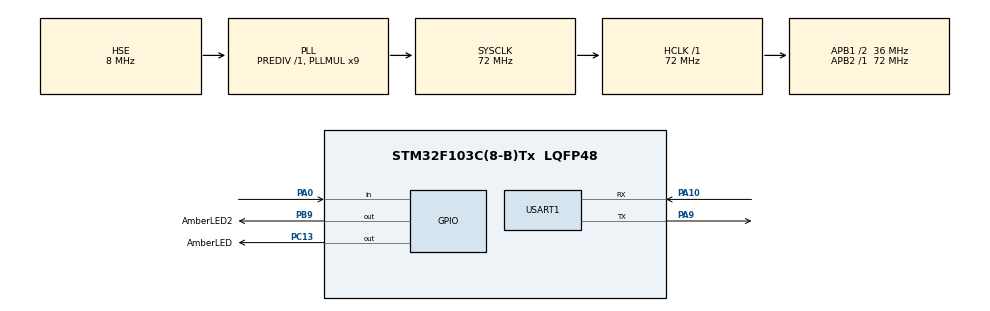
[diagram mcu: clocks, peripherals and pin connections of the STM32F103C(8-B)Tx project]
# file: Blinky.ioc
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Mcu.Family=STM32F1
Mcu.Name=STM32F103C(8-B)Tx
Mcu.Package=LQFP48
Mcu.UserConstants=TIMER1_COUNTER,10000
NVIC.PriorityGroup=NVIC_PRIORITYGROUP_4
NVIC.TIM1_UP_IRQn=true\:0\:0\:false\:false\:true
PA0-WKUP.GPIO_PuPd=GPIO_PULLUP
PA0-WKUP.Signal=GPIO_Input
PA10.Mode=Asynchronous
PA10.Signal=USART1_RX
PA13.Mode=Serial_Wire
PA13.Signal=SYS_JTMS-SWDIO
PA14.Mode=Serial_Wire
PA14.Signal=SYS_JTCK-SWCLK
PA9.Mode=Asynchronous
PA9.Signal=USART1_TX
PB9.GPIO_Label=AmberLED2
PB9.GPIO_ModeDefaultOutputPP=GPIO_MODE_OUTPUT_OD
PB9.PinState=GPIO_PIN_RESET
PB9.Signal=GPIO_Output
PC13-TAMPER-RTC.GPIO_Label=AmberLED
PC13-TAMPER-RTC.GPIO_ModeDefaultOutputPP=GPIO_MODE_OUTPUT_OD
PC13-TAMPER-RTC.PinState=GPIO_PIN_RESET
PC13-TAMPER-RTC.Signal=GPIO_Output
PD0-OSC_IN.Mode=HSE-External-Oscillator
PD0-OSC_IN.Signal=RCC_OSC_IN
PD1-OSC_OUT.Mode=HSE-External-Oscillator
PD1-OSC_OUT.Signal=RCC_OSC_OUT
ProjectManager.HeapSize=0x200
ProjectManager.StackSize=0x400
ProjectManager.TargetToolchain=SW4STM32
RCC.AHBFreq_Value=72000000
RCC.APB1CLKDivider=RCC_HCLK_DIV2
RCC.APB1Freq_Value=36000000
RCC.APB1TimFreq_Value=72000000
RCC.APB2Freq_Value=72000000
RCC.APB2TimFreq_Value=72000000
RCC.HCLKFreq_Value=72000000
RCC.PLLMUL=RCC_PLL_MUL9
RCC.PLLSourceVirtual=RCC_PLLSOURCE_HSE
RCC.SYSCLKFreq_VALUE=72000000
RCC.SYSCLKSource=RCC_SYSCLKSOURCE_PLLCLK
RCC.USBFreq_Value=72000000
TIM1.CounterMode=TIM_COUNTERMODE_UP
TIM1.Period=TIMER1_COUNTER
TIM1.TIM_MasterOutputTrigger=TIM_TRGO_UPDATE
USART1.VirtualMode=VM_ASYNC
VP_TIM1_VS_ClockSourceINT.Mode=Internal
board=Blinky

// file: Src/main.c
/**
  ******************************************************************************
  * File Name          : main.c
  * Description        : Main program body
  ******************************************************************************
  ** This notice applies to any and all portions of this file
  * that are not between comment pairs USER CODE BEGIN and
  * USER CODE END. Other portions of this file, whether
  * inserted by the user or by software development tools
  * are owned by their respective copyright owners.
  *
  * COPYRIGHT(c) 2017 STMicroelectronics
  *
  * Redistribution and use in source and binary forms, with or without modification,
  * are permitted provided that the following conditions are met:
  *   1. Redistributions of source code must retain the above copyright notice,
  *      this list of conditions and the following disclaimer.
  *   2. Redistributions in binary form must reproduce the above copyright notice,
  *      this list of conditions and the following disclaimer in the documentation
  *      and/or other materials provided with the distribution.
  *   3. Neither the name of STMicroelectronics nor the names of its contributors
  *      may be used to endorse or promote products derived from this software
  *      without specific prior written permission.
  *
  * THIS SOFTWARE IS PROVIDED BY THE COPYRIGHT HOLDERS AND CONTRIBUTORS "AS IS"
  * AND ANY EXPRESS OR IMPLIED WARRANTIES, INCLUDING, BUT NOT LIMITED TO, THE
  * IMPLIED WARRANTIES OF MERCHANTABILITY AND FITNESS FOR A PARTICULAR PURPOSE ARE
  * DISCLAIMED. IN NO EVENT SHALL THE COPYRIGHT HOLDER OR CONTRIBUTORS BE LIABLE
  * FOR ANY DIRECT, INDIRECT, INCIDENTAL, SPECIAL, EXEMPLARY, OR CONSEQUENTIAL
  * DAMAGES (INCLUDING, BUT NOT LIMITED TO, PROCUREMENT OF SUBSTITUTE GOODS OR
  * SERVICES; LOSS OF USE, DATA, OR PROFITS; OR BUSINESS INTERRUPTION) HOWEVER
  * CAUSED AND ON ANY THEORY OF LIABILITY, WHETHER IN CONTRACT, STRICT LIABILITY,
  * OR TORT (INCLUDING NEGLIGENCE OR OTHERWISE) ARISING IN ANY WAY OUT OF THE USE
  * OF THIS SOFTWARE, EVEN IF ADVISED OF THE POSSIBILITY OF SUCH DAMAGE.
  *
  ******************************************************************************
  */
#include "main.h"
#include "stm32f1xx_hal.h"
#include "task.h"

/* USER CODE BEGIN Includes */
#define hasTimerExpired(prevTime, period) \
	(HAL_GetTick() - prevTime > period)

/* USER CODE END Includes */

TIM_HandleTypeDef htim1;

UART_HandleTypeDef huart1;

/* USER CODE BEGIN PV */
/* Private variables ---------------------------------------------------------*/
int mySignal = 8;
TCB *curTCB;
/* USER CODE END PV */

void SystemClock_Config(void);
static void MX_GPIO_Init(void);
static void MX_USART1_UART_Init(void);
static void MX_TIM1_Init(void);

/* USER CODE BEGIN PFP */
/* Private function prototypes -----------------------------------------------*/
volatile int val=0;
volatile int val2=0;
volatile int val3=0;

void task1(void);
void task2(void);

/* USER CODE END PFP */

int main(void){
  /* USER CODE BEGIN 1 */
  TCB *tcb;
  /* USER CODE END 1 */
  /* MCU Configuration----------------------------------------------------------*/
  /* Reset of all peripherals, Initializes the Flash interface and the Systick. */
  HAL_Init();
  /* Configure the system clock */
  SystemClock_Config();
  /* Initialize all configured peripherals */
  MX_GPIO_Init();
  MX_USART1_UART_Init();
  MX_TIM1_Init();
  /* USER CODE BEGIN 2 */
  curTCB = initKernel("MainThread");
  tcb = createThread("Thread1",task1,256);
  curTCB->next = tcb;
  //curTCB->next->next = curTCB;
  tcb = createThread("Thread2",task2,512);
  curTCB->next->next = tcb;
  curTCB->next->next->next = curTCB;

  //assemblyMain();
  __HAL_TIM_ENABLE(&htim1);
  HAL_TIM_Base_Start_IT(&htim1);

  //val = add4Integers(2, 3, 4, 5);
  //val = add5Integers(2, 3, 4, 5, 6);
  //val = add6Integers(2, 3, 4, 5, 6, 7);
  //if(SCB->CCR & SCB_CCR_STKALIGN)
	 // val = val2;
  //HAL_TIM_Base_Start_IT(&htim1);

  /* USER CODE END 2 */

  /* Infinite loop */
  /* USER CODE BEGIN WHILE */
//  uint32_t prevTime1 = 0;
//  uint32_t prevTime2 = 0;
//  prevTime1 = HAL_GetTick();
//  prevTime2 = HAL_GetTick();

  while (1){
  /* USER CODE END WHILE */

  /* USER CODE BEGIN 3 */

//	uint32_t tick = 0;
	HAL_GPIO_TogglePin(AmberLED_GPIO_Port, AmberLED_Pin);
	HAL_Delay(1000);
//	tick = osKernelSysTick();
//	while(osKernelSysTick() - tick < 500);
  }
  /* USER CODE END 3 */

}

/** System Clock Configuration
*/
void SystemClock_Config(void){
  RCC_OscInitTypeDef RCC_OscInitStruct;
  RCC_ClkInitTypeDef RCC_ClkInitStruct;

    /**Initializes the CPU, AHB and APB busses clocks
    */
  RCC_OscInitStruct.OscillatorType = RCC_OSCILLATORTYPE_HSE;
  RCC_OscInitStruct.HSEState = RCC_HSE_ON;
  RCC_OscInitStruct.HSEPredivValue = RCC_HSE_PREDIV_DIV1;
  RCC_OscInitStruct.HSIState = RCC_HSI_ON;
  RCC_OscInitStruct.PLL.PLLState = RCC_PLL_ON;
  RCC_OscInitStruct.PLL.PLLSource = RCC_PLLSOURCE_HSE;
  RCC_OscInitStruct.PLL.PLLMUL = RCC_PLL_MUL9;
  if (HAL_RCC_OscConfig(&RCC_OscInitStruct) != HAL_OK)
  {
    _Error_Handler(__FILE__, __LINE__);
  }

    /**Initializes the CPU, AHB and APB busses clocks
    */
  RCC_ClkInitStruct.ClockType = RCC_CLOCKTYPE_HCLK|RCC_CLOCKTYPE_SYSCLK
                              |RCC_CLOCKTYPE_PCLK1|RCC_CLOCKTYPE_PCLK2;
  RCC_ClkInitStruct.SYSCLKSource = RCC_SYSCLKSOURCE_PLLCLK;
  RCC_ClkInitStruct.AHBCLKDivider = RCC_SYSCLK_DIV1;
  RCC_ClkInitStruct.APB1CLKDivider = RCC_HCLK_DIV2;
  RCC_ClkInitStruct.APB2CLKDivider = RCC_HCLK_DIV1;

  if (HAL_RCC_ClockConfig(&RCC_ClkInitStruct, FLASH_LATENCY_2) != HAL_OK)
  {
    _Error_Handler(__FILE__, __LINE__);
  }

    /**Configure the Systick interrupt time
    */
  HAL_SYSTICK_Config(HAL_RCC_GetHCLKFreq()/1000);

    /**Configure the Systick
    */
  HAL_SYSTICK_CLKSourceConfig(SYSTICK_CLKSOURCE_HCLK);

  /* SysTick_IRQn interrupt configuration */
  HAL_NVIC_SetPriority(SysTick_IRQn, 0, 0);
}

/* TIM1 init function */
static void MX_TIM1_Init(void)
{

  TIM_ClockConfigTypeDef sClockSourceConfig;
  TIM_MasterConfigTypeDef sMasterConfig;

  htim1.Instance = TIM1;
  htim1.Init.Prescaler = 0;
  htim1.Init.CounterMode = TIM_COUNTERMODE_UP;
  htim1.Init.Period = TIMER1_COUNTER;
  htim1.Init.ClockDivision = TIM_CLOCKDIVISION_DIV1;
  htim1.Init.RepetitionCounter = 0;
  if (HAL_TIM_Base_Init(&htim1) != HAL_OK)
  {
    _Error_Handler(__FILE__, __LINE__);
  }

  sClockSourceConfig.ClockSource = TIM_CLOCKSOURCE_INTERNAL;
  if (HAL_TIM_ConfigClockSource(&htim1, &sClockSourceConfig) != HAL_OK)
  {
    _Error_Handler(__FILE__, __LINE__);
  }

  sMasterConfig.MasterOutputTrigger = TIM_TRGO_UPDATE;
  sMasterConfig.MasterSlaveMode = TIM_MASTERSLAVEMODE_DISABLE;
  if (HAL_TIMEx_MasterConfigSynchronization(&htim1, &sMasterConfig) != HAL_OK)
  {
    _Error_Handler(__FILE__, __LINE__);
  }

}

/* USART1 init function */
static void MX_USART1_UART_Init(void)
{

  huart1.Instance = USART1;
  huart1.Init.BaudRate = 115200;
  huart1.Init.WordLength = UART_WORDLENGTH_8B;
  huart1.Init.StopBits = UART_STOPBITS_1;
  huart1.Init.Parity = UART_PARITY_NONE;
  huart1.Init.Mode = UART_MODE_TX_RX;
  huart1.Init.HwFlowCtl = UART_HWCONTROL_NONE;
  huart1.Init.OverSampling = UART_OVERSAMPLING_16;
  if (HAL_UART_Init(&huart1) != HAL_OK)
  {
    _Error_Handler(__FILE__, __LINE__);
  }

}

/** Configure pins as
        * Analog
        * Input
        * Output
        * EVENT_OUT
        * EXTI
*/
static void MX_GPIO_Init(void)
{

  GPIO_InitTypeDef GPIO_InitStruct;

  /* GPIO Ports Clock Enable */
  __HAL_RCC_GPIOC_CLK_ENABLE();
  __HAL_RCC_GPIOD_CLK_ENABLE();
  __HAL_RCC_GPIOA_CLK_ENABLE();
  __HAL_RCC_GPIOB_CLK_ENABLE();

  /*Configure GPIO pin Output Level */
  HAL_GPIO_WritePin(AmberLED_GPIO_Port, AmberLED_Pin, GPIO_PIN_RESET);

  /*Configure GPIO pin Output Level */
  HAL_GPIO_WritePin(AmberLED2_GPIO_Port, AmberLED2_Pin, GPIO_PIN_RESET);

  /*Configure GPIO pin : AmberLED_Pin */
  GPIO_InitStruct.Pin = AmberLED_Pin;
  GPIO_InitStruct.Mode = GPIO_MODE_OUTPUT_OD;
  GPIO_InitStruct.Speed = GPIO_SPEED_FREQ_LOW;
  HAL_GPIO_Init(AmberLED_GPIO_Port, &GPIO_InitStruct);

  /*Configure GPIO pin : PA0 */
  GPIO_InitStruct.Pin = GPIO_PIN_0;
  GPIO_InitStruct.Mode = GPIO_MODE_INPUT;
  GPIO_InitStruct.Pull = GPIO_PULLUP;
  HAL_GPIO_Init(GPIOA, &GPIO_InitStruct);

  /*Configure GPIO pin : AmberLED2_Pin */
  GPIO_InitStruct.Pin = AmberLED2_Pin;
  GPIO_InitStruct.Mode = GPIO_MODE_OUTPUT_OD;
  GPIO_InitStruct.Speed = GPIO_SPEED_FREQ_LOW;
  HAL_GPIO_Init(AmberLED2_GPIO_Port, &GPIO_InitStruct);

}

/* USER CODE BEGIN 4 */
int sub2Integers(int v1,int v2){
	return v1-v2;
}

int sub5Integers(int v1,int v2,int v3,int v4,int v5){
	return v1-v2-v3-v4-v5;
}

int sub6Integers(int v1,int v2,int v3,int v4,int v5,int v6){
	return v1-v2-v3-v4-v5-v6;
}

void task1(void){
	volatile int i = 0;
		while(1){
			i -= 10;
			HAL_GPIO_TogglePin(AmberLED_GPIO_Port, AmberLED_Pin);
			//HAL_Delay(500);
		}
}

void task2(void){
	volatile int i = 0;
	while(1){
		i -= 10;
		HAL_GPIO_TogglePin(AmberLED2_GPIO_Port, AmberLED2_Pin);
		//HAL_Delay(1000);
	}
}

/* USER CODE END 4 */

void _Error_Handler(char * file, int line)
{
  while(1)
  {
  }
}

/************************ (C) COPYRIGHT STMicroelectronics *****END OF FILE****/
